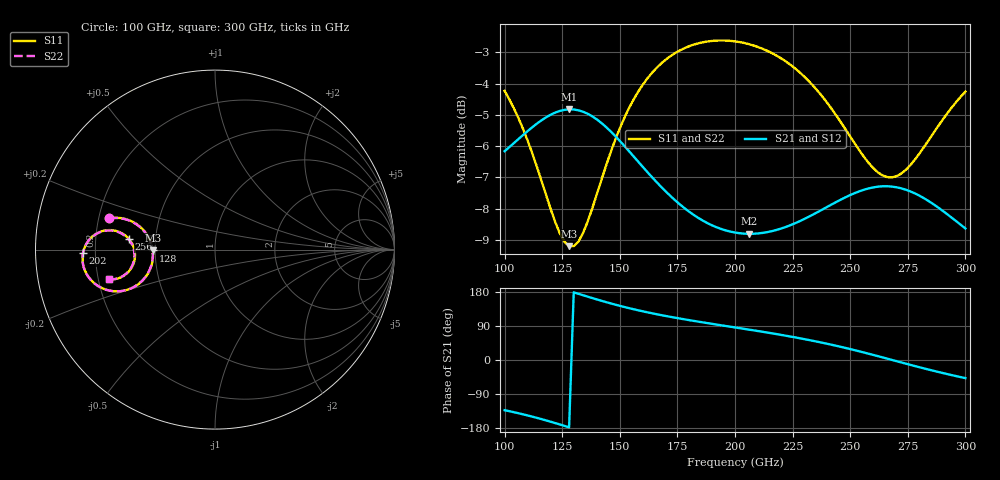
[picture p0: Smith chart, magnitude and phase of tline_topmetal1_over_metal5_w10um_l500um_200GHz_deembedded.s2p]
! Created with skrf 2.2.0 (http://scikit-rf.org).
# GHz S DB R 50.0
! Port[1] = P1
! Port[2] = P2
!freq dBS11 angS11 dBS21 angS21 dBS12 angS12 dBS22 angS22
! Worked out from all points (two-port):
!   101 points, 100 GHz to 300 GHz, reference 50 ohm
!   highest |S21| = -4.82 dB at 128 GHz (marker M1); lowest = -8.8 dB at 206 GHz (marker M2)
!   |S21| within 3 dB of the highest: start of sweep to 175.4 GHz; 243.1 GHz to 285.3 GHz (42.17 GHz wide, 16 % of centre)
!   lowest |S11| = -9.2 dB at 128 GHz (marker M3), VSWR 2.06, Z = 24.3 - j0.269 ohm
!   |S11| at or under -10 dB: nowhere
!   |S22| runs from -9.2 to -2.6 dB; largest |S21 - S12| = 6.6e-14
!   S11 on the Smith chart (normalised r, x): 100 GHz: 0.24, +0.14; 128 GHz: 0.49, -0.01; 202 GHz: 0.15, -0.01; 256 GHz: 0.35, +0.05; 300 GHz: 0.24, -0.13
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100  -4.23 163.5  -6.16 -132.4  -6.16 -132.4  -4.22 163.6
108  -5.45 161.2  -5.65 -143.4  -5.65 -143.4  -5.44 161.4
114  -6.66 161.8  -5.28 -152.7  -5.28 -152.7  -6.64 162.0
122  -8.44 169.1  -4.92 -166.5  -4.92 -166.5  -8.41 169.2
128  -9.21 -179.2  -4.82 -177.7  -4.82 -177.7  -9.17 -179.1
134  -8.79 -166.3  -4.90 171.0  -4.90 171.0  -8.76 -166.3
142  -7.09 -156.7  -5.26 156.3  -5.26 156.3  -7.06 -156.7
150  -5.43 -155.3  -5.83 143.0  -5.83 143.0  -5.41 -155.4
158  -4.25 -157.8  -6.50 131.2  -6.50 131.2  -4.24 -157.8
168  -3.35 -162.5  -7.31 118.4  -7.31 118.4  -3.34 -162.5
184  -2.71 -170.4  -8.30 101.3  -8.30 101.3  -2.70 -170.3
200  -2.64 -177.6  -8.77 86.0  -8.77 86.0  -2.64 -177.5
202  -2.67 -178.4  -8.79 84.1  -8.79 84.1  -2.66 -178.3
206  -2.73 179.9  -8.81 80.2  -8.81 80.2  -2.72 -180.0
220  -3.19 174.5  -8.64 66.3  -8.64 66.3  -3.17 174.6
234  -4.07 170.3  -8.19 50.4  -8.19 50.4  -4.05 170.5
246  -5.24 169.5  -7.71 34.6  -7.71 34.6  -5.21 169.7
256  -6.35 173.1  -7.40 19.7  -7.40 19.7  -6.30 173.3
268  -7.00 -176.4  -7.30 0.4  -7.30 0.4  -6.94 -176.3
276  -6.62 -169.1  -7.45 -12.6  -7.45 -12.6  -6.56 -169.1
284  -5.82 -164.7  -7.76 -25.2  -7.76 -25.2  -5.77 -164.8
300  -4.25 -164.3  -8.64 -47.8  -8.64 -47.8  -4.22 -164.4
